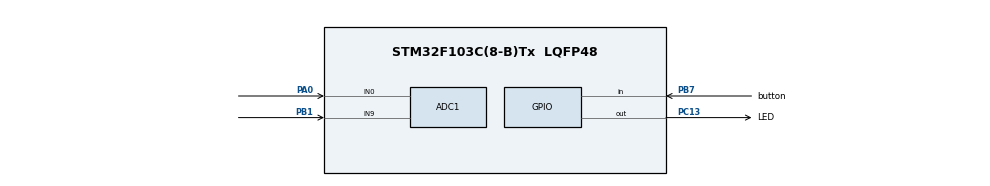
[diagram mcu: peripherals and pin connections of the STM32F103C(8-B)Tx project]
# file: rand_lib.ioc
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ADC1.Channel-0\#ChannelRegularConversion=ADC_CHANNEL_0
ADC1.Channel-1\#ChannelRegularConversion=ADC_CHANNEL_9
ADC1.ContinuousConvMode=DISABLE
ADC1.EnableInjectedConversion=DISABLE
ADC1.NbrOfConversion=2
ADC1.NbrOfConversionFlag=1
ADC1.Rank-0\#ChannelRegularConversion=1
ADC1.Rank-1\#ChannelRegularConversion=2
ADC1.SamplingTime-0\#ChannelRegularConversion=ADC_SAMPLETIME_1CYCLE_5
ADC1.SamplingTime-1\#ChannelRegularConversion=ADC_SAMPLETIME_1CYCLE_5
ADC1.master=1
Dma.ADC1.0.Direction=DMA_PERIPH_TO_MEMORY
Dma.ADC1.0.Instance=DMA1_Channel1
Dma.ADC1.0.MemDataAlignment=DMA_MDATAALIGN_HALFWORD
Dma.ADC1.0.MemInc=DMA_MINC_ENABLE
Dma.ADC1.0.Mode=DMA_CIRCULAR
Dma.ADC1.0.PeriphDataAlignment=DMA_PDATAALIGN_HALFWORD
Dma.ADC1.0.PeriphInc=DMA_PINC_DISABLE
Dma.ADC1.0.Priority=DMA_PRIORITY_LOW
Dma.Request0=ADC1
Mcu.Family=STM32F1
Mcu.Name=STM32F103C(8-B)Tx
Mcu.Package=LQFP48
NVIC.DMA1_Channel1_IRQn=true\:0\:0\:false\:false\:true\:false\:true\:true
NVIC.PriorityGroup=NVIC_PRIORITYGROUP_4
PA0-WKUP.Signal=ADCx_IN0
PA13.Mode=Serial_Wire
PA13.Signal=SYS_JTMS-SWDIO
PA14.Mode=Serial_Wire
PA14.Signal=SYS_JTCK-SWCLK
PB1.Signal=ADCx_IN9
PB7.GPIO_Label=button
PB7.GPIO_PuPd=GPIO_PULLUP
PB7.Signal=GPIO_Input
PC13-TAMPER-RTC.GPIO_Label=LED
PC13-TAMPER-RTC.Signal=GPIO_Output
ProjectManager.HeapSize=0x200
ProjectManager.StackSize=0x400
ProjectManager.TargetToolchain=STM32CubeIDE
RCC.APB1Freq_Value=8000000
RCC.APB2Freq_Value=8000000
SH.ADCx_IN0.0=ADC1_IN0,IN0
SH.ADCx_IN9.0=ADC1_IN9,IN9
board=custom

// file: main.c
/* USER CODE BEGIN Header */
/**
  ******************************************************************************
  * @file           : main.c
  * @brief          : Main program body
  * @Made by RASBI
  ******************************************************************************
  * @attention
  *
  * This software is licensed under the MIT License.
  *
  ******************************************************************************
  */
/* USER CODE END Header */
#include "main.h"

ADC_HandleTypeDef hadc1;
DMA_HandleTypeDef hdma_adc1;

/* USER CODE BEGIN PV */

//시드 담는 배열
volatile uint16_t seed[2];

//최종 난수(또는 시드로 활용 가능한) 변수
volatile uint16_t rand_num;
/* USER CODE END PV */

void SystemClock_Config(void);
static void MX_GPIO_Init(void);
static void MX_DMA_Init(void);
static void MX_ADC1_Init(void);

int main(void)
{

  /* MCU Configuration--------------------------------------------------------*/

  /* Reset of all peripherals, Initializes the Flash interface and the Systick. */
  HAL_Init();

  /* Configure the system clock */
  SystemClock_Config();

  /* Initialize all configured peripherals */
  MX_GPIO_Init();
  MX_DMA_Init();
  MX_ADC1_Init();

  /* Infinite loop */
  while (1)
  {

    /* USER CODE BEGIN 3 */
	  // 버튼 눌리면 난수 생성 시작
	  if (HAL_GPIO_ReadPin(GPIOB, GPIO_PIN_7) == 0) {

		  //first mix
		  HAL_ADC_Start_DMA(&hadc1, (uint32_t *)seed, 2); //no size_t, it use uint32_t
		  while((seed[0] >> 15)!=1); //변환 완료 검사 (플래그 확인)
		  seed[0] &= 0x7FFF; // 플래그 비트 제거
		  rand_num = (seed[0] ^ seed[1]); // 시드 0과 시드 1을 XOR 연산

		  //second mix
		  HAL_ADC_Start_DMA(&hadc1, (uint32_t *)seed, 2); //no size_t, it use uint32_t
		  while((seed[0] >> 15)!=1); //변환 완료 검사 (플래그 확인)
		  seed[0] &= 0x7FFF; // 플래그 비트 제거
		  rand_num = (rand_num^seed[0] ^ seed[1]) | ((seed[0] & 0x0F)<<12); // 다시 한번더 XOR 연산 후 시드 0의 하위 4비트를, 난수의 상위 4비트로 채워 넣는다.

	  } else {
		  //보드 내장 LED 끄기
		  HAL_GPIO_WritePin(GPIOC, GPIO_PIN_13, GPIO_PIN_SET);
	  }
  }
  /* USER CODE END 3 */
}

void SystemClock_Config(void)
{
  RCC_OscInitTypeDef RCC_OscInitStruct = {0};
  RCC_ClkInitTypeDef RCC_ClkInitStruct = {0};
  RCC_PeriphCLKInitTypeDef PeriphClkInit = {0};

  /** Initializes the RCC Oscillators according to the specified parameters
  * in the RCC_OscInitTypeDef structure.
  */
  RCC_OscInitStruct.OscillatorType = RCC_OSCILLATORTYPE_HSI;
  RCC_OscInitStruct.HSIState = RCC_HSI_ON;
  RCC_OscInitStruct.HSICalibrationValue = RCC_HSICALIBRATION_DEFAULT;
  RCC_OscInitStruct.PLL.PLLState = RCC_PLL_NONE;
  if (HAL_RCC_OscConfig(&RCC_OscInitStruct) != HAL_OK)
  {
    Error_Handler();
  }

  /** Initializes the CPU, AHB and APB buses clocks
  */
  RCC_ClkInitStruct.ClockType = RCC_CLOCKTYPE_HCLK|RCC_CLOCKTYPE_SYSCLK
                              |RCC_CLOCKTYPE_PCLK1|RCC_CLOCKTYPE_PCLK2;
  RCC_ClkInitStruct.SYSCLKSource = RCC_SYSCLKSOURCE_HSI;
  RCC_ClkInitStruct.AHBCLKDivider = RCC_SYSCLK_DIV1;
  RCC_ClkInitStruct.APB1CLKDivider = RCC_HCLK_DIV1;
  RCC_ClkInitStruct.APB2CLKDivider = RCC_HCLK_DIV1;

  if (HAL_RCC_ClockConfig(&RCC_ClkInitStruct, FLASH_LATENCY_0) != HAL_OK)
  {
    Error_Handler();
  }
  PeriphClkInit.PeriphClockSelection = RCC_PERIPHCLK_ADC;
  PeriphClkInit.AdcClockSelection = RCC_ADCPCLK2_DIV2;
  if (HAL_RCCEx_PeriphCLKConfig(&PeriphClkInit) != HAL_OK)
  {
    Error_Handler();
  }
}

static void MX_ADC1_Init(void)
{

  ADC_ChannelConfTypeDef sConfig = {0};

  /** Common config
  */
  hadc1.Instance = ADC1;
  hadc1.Init.ScanConvMode = ADC_SCAN_ENABLE;
  hadc1.Init.ContinuousConvMode = DISABLE;
  hadc1.Init.DiscontinuousConvMode = DISABLE;
  hadc1.Init.ExternalTrigConv = ADC_SOFTWARE_START;
  hadc1.Init.DataAlign = ADC_DATAALIGN_RIGHT;
  hadc1.Init.NbrOfConversion = 2;
  if (HAL_ADC_Init(&hadc1) != HAL_OK)
  {
    Error_Handler();
  }

  /** Configure Regular Channel
  */
  sConfig.Channel = ADC_CHANNEL_0;
  sConfig.Rank = ADC_REGULAR_RANK_1;
  sConfig.SamplingTime = ADC_SAMPLETIME_1CYCLE_5;
  if (HAL_ADC_ConfigChannel(&hadc1, &sConfig) != HAL_OK)
  {
    Error_Handler();
  }

  /** Configure Regular Channel
  */
  sConfig.Channel = ADC_CHANNEL_9;
  sConfig.Rank = ADC_REGULAR_RANK_2;
  if (HAL_ADC_ConfigChannel(&hadc1, &sConfig) != HAL_OK)
  {
    Error_Handler();
  }

}

static void MX_DMA_Init(void)
{

  /* DMA controller clock enable */
  __HAL_RCC_DMA1_CLK_ENABLE();

  /* DMA interrupt init */
  /* DMA1_Channel1_IRQn interrupt configuration */
  HAL_NVIC_SetPriority(DMA1_Channel1_IRQn, 0, 0);
  HAL_NVIC_EnableIRQ(DMA1_Channel1_IRQn);

}

static void MX_GPIO_Init(void)
{
  GPIO_InitTypeDef GPIO_InitStruct = {0};

  /* GPIO Ports Clock Enable */
  __HAL_RCC_GPIOC_CLK_ENABLE();
  __HAL_RCC_GPIOA_CLK_ENABLE();
  __HAL_RCC_GPIOB_CLK_ENABLE();

  /*Configure GPIO pin Output Level */
  HAL_GPIO_WritePin(LED_GPIO_Port, LED_Pin, GPIO_PIN_RESET);

  /*Configure GPIO pin : LED_Pin */
  GPIO_InitStruct.Pin = LED_Pin;
  GPIO_InitStruct.Mode = GPIO_MODE_OUTPUT_PP;
  GPIO_InitStruct.Pull = GPIO_NOPULL;
  GPIO_InitStruct.Speed = GPIO_SPEED_FREQ_LOW;
  HAL_GPIO_Init(LED_GPIO_Port, &GPIO_InitStruct);

  /*Configure GPIO pin : button_Pin */
  GPIO_InitStruct.Pin = button_Pin;
  GPIO_InitStruct.Mode = GPIO_MODE_INPUT;
  GPIO_InitStruct.Pull = GPIO_PULLUP;
  HAL_GPIO_Init(button_GPIO_Port, &GPIO_InitStruct);

}

/* USER CODE BEGIN 4 */
void HAL_ADC_ConvCpltCallback(ADC_HandleTypeDef* hadc) //DMA END
{
//ADC 중지
  HAL_ADC_Stop_DMA(hadc);
//보드 내장 LED 켜기
  HAL_GPIO_WritePin(GPIOC, GPIO_PIN_13, GPIO_PIN_RESET);
//변환 완료 플래그 기입
  seed[0] |= 0x8000;
}
/* USER CODE END 4 */

void Error_Handler(void)
{
  __disable_irq();
  while (1)
  {
  }
}
